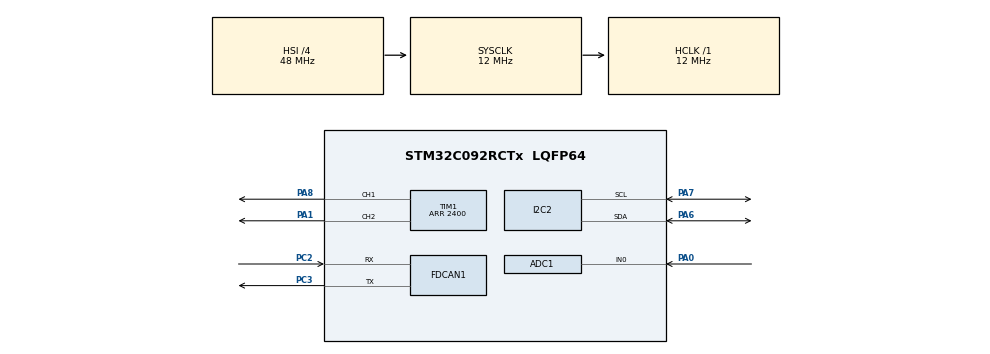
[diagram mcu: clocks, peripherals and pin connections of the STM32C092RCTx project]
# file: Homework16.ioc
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ADC1.NbrOfConversionFlag=0
ADC1.SelectedChannel=ADC_CHANNEL_0
ADC1.master=1
FDCAN1.CalculateBaudRateNominal=250000
FDCAN1.CalculateTimeBitNominal=4000
FDCAN1.CalculateTimeQuantumNominal=1333.3333333333333
I2C2.Timing=0x00402D41
Mcu.Family=STM32C0
Mcu.Name=STM32C092RCTx
Mcu.Package=LQFP64
NUCLEO-C092RC.BUTTON=1
NUCLEO-C092RC.LD1=true
NUCLEO-C092RC.LD2=true
NUCLEO-C092RC.VCP=true
NVIC.EXTI4_15_IRQn=true\:0\:0\:false\:false\:true\:false\:true\:true
NVIC.TIM2_IRQn=true\:0\:0\:false\:false\:true\:true\:true\:true
PA0.Mode=IN0
PA0.Signal=ADC1_IN0
PA1.Signal=S_TIM1_CH2
PA13.GPIO_Label=SWDIO
PA13.Signal=DEBUG_SWDIO
PA14-BOOT0.GPIO_Label=SWCLK
PA14-BOOT0.Signal=DEBUG_SWCLK
PA2.Signal=USART2_TX
PA3.Signal=USART2_RX
PA6.Mode=I2C
PA6.Signal=I2C2_SDA
PA7.Mode=I2C
PA7.Signal=I2C2_SCL
PA8.Signal=S_TIM1_CH1
PC14-OSCX_IN(PC14).GPIO_Label=OSCX_IN
PC14-OSCX_IN(PC14).Signal=RCC_OSCX_IN
PC15-OSCX_OUT(PC15).GPIO_Label=OSCX_OUT
PC15-OSCX_OUT(PC15).Signal=RCC_OSCX_OUT
PC2.Mode=FDCAN_Activate
PC2.Signal=FDCAN1_RX
PC3.Mode=FDCAN_Activate
PC3.Signal=FDCAN1_TX
PF0-OSC_IN(PF0).GPIO_Label=OSC_IN
PF0-OSC_IN(PF0).Signal=RCC_OSC_IN
PF1-OSC_OUT(PF1).GPIO_Label=OSC_OUT
PF1-OSC_OUT(PF1).Signal=RCC_OSC_OUT
ProjectManager.HeapSize=0x200
ProjectManager.StackSize=0x400
ProjectManager.TargetToolchain=STM32CubeIDE
RCC.ADCFreq_Value=12000000
RCC.AHBFreq_Value=12000000
RCC.CortexFreq_Value=12000000
RCC.EXTERNAL_CLOCK_VALUE=12288000
RCC.HCLKFreq_Value=12000000
RCC.HSE_VALUE=8000000
RCC.HSI_VALUE=48000000
RCC.LSE_VALUE=32768
RCC.SYSCLKFreq_VALUE=12000000
SH.S_TIM1_CH1.0=TIM1_CH1,PWM Generation1 CH1
SH.S_TIM1_CH2.0=TIM1_CH2,PWM Generation2 CH2
TIM1.Channel-PWM\ Generation1\ CH1=TIM_CHANNEL_1
TIM1.Channel-PWM\ Generation2\ CH2=TIM_CHANNEL_2
TIM1.Period=2400
TIM2.Period=48000
VP_NUCLEO-C092RC_VS_BSP_COMMON.Mode=COMMON
VP_TIM2_VS_ClockSourceINT.Mode=Internal
board=NUCLEO-C092RC

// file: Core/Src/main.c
/* USER CODE BEGIN Header */
/**
  ******************************************************************************
  * @file           : main.c
  * @brief          : Main program body
  ******************************************************************************
  * @attention
  *
  * Copyright (c) 2026 STMicroelectronics.
  * All rights reserved.
  *
  * This software is licensed under terms that can be found in the LICENSE file
  * in the root directory of this software component.
  * If no LICENSE file comes with this software, it is provided AS-IS.
  *
  ******************************************************************************
  */
/* USER CODE END Header */
#include "main.h"
#include <stdio.h>
#include <stdlib.h>

/* USER CODE BEGIN PD */
#define INA219_ADDR 0x40
#define INA219_REG_CONFIG 0x00
#define INA219_REG_CALIBRATION 0x05
#define INA219_REG_CURRENT 0x04
#define NUM_SAMPLES 400
/* USER CODE END PD */

COM_InitTypeDef BspCOMInit;
ADC_HandleTypeDef hadc1;

FDCAN_HandleTypeDef hfdcan1;

I2C_HandleTypeDef hi2c2;

TIM_HandleTypeDef htim1;
TIM_HandleTypeDef htim2;

/* USER CODE BEGIN PV */

volatile int state = 0;
volatile int index_data[NUM_SAMPLES];
volatile int desired_data[NUM_SAMPLES];
volatile int current_data[NUM_SAMPLES];

/* USER CODE END PV */

void SystemClock_Config(void);
static void MX_GPIO_Init(void);
static void MX_ADC1_Init(void);
static void MX_FDCAN1_Init(void);
static void MX_I2C2_Init(void);
static void MX_TIM1_Init(void);
static void MX_TIM2_Init(void);

/* USER CODE BEGIN 0 */
uint32_t read_adc(void)
{
    uint32_t raw = 0;

    HAL_ADC_Start(&hadc1);

    if (HAL_ADC_PollForConversion(&hadc1, 10) == HAL_OK) {
        raw = HAL_ADC_GetValue(&hadc1);
    }

    HAL_ADC_Stop(&hadc1);

    return raw;
}

void writeINA219(int reg, int value)
{
    uint8_t buf[3];
    buf[0] = reg;
    buf[1] = value >> 8;
    buf[2] = value & 0xff;

    HAL_I2C_Master_Transmit(&hi2c2, INA219_ADDR << 1, buf, 3, 10);
}

signed short readINA219(unsigned char reg)
{
    HAL_I2C_Master_Transmit(&hi2c2, INA219_ADDR << 1, &reg, 1, 10);

    uint8_t buffer[2];
    HAL_I2C_Master_Receive(&hi2c2, INA219_ADDR << 1, buffer, 2, 10);

    signed short value = (buffer[0] << 8) | buffer[1];
    return value;
}

void init_ina219(void)
{
    unsigned short ina219_calValue = 1024;
    unsigned short ina219_config = 0b0011000010001111;

    writeINA219(INA219_REG_CALIBRATION, ina219_calValue);
    writeINA219(INA219_REG_CONFIG, ina219_config);
}

float read_ina219(void)
{
    float ma = 0;
    signed short value = readINA219(INA219_REG_CURRENT);
    ma = value / 3.0;
    return ma;
}

void HAL_TIM_PeriodElapsedCallback(TIM_HandleTypeDef *htim)
{
    if (htim == &htim2)
    {
        static volatile int counter = 0;
        static volatile int desired_current = -300;
        static volatile float eint = 0;
        volatile int ui_data[400];

        if (state == 1)
        {
            signed short current = readINA219(INA219_REG_CURRENT);

            int error = desired_current - current;
            eint += error;

            if (eint > 1000) eint = 1000;
            if (eint < -1000) eint = -1000;

            float kp = -0.011;
            float ki = -0.008;

            float uf = kp * error + ki * eint;
            int ui = (int)(uf / 125.0 * 2400);

            if (ui > 2400) ui = 2400;
            if (ui < -2400) ui = -2400;

            if (ui > 0) {
                __HAL_TIM_SET_COMPARE(&htim1, TIM_CHANNEL_1, 2400 - ui);
                __HAL_TIM_SET_COMPARE(&htim1, TIM_CHANNEL_2, 2400);
            }
            else {
                __HAL_TIM_SET_COMPARE(&htim1, TIM_CHANNEL_1, 2400);
                __HAL_TIM_SET_COMPARE(&htim1, TIM_CHANNEL_2, 2400 + ui);
            }

            index_data[counter] = counter;
            desired_data[counter] = desired_current;
            current_data[counter] = current;
            ui_data[counter] = ui;

            counter++;

            if (counter == 100)
            {
                desired_current = 300;
            }
            else if (counter == 200)
            {
                desired_current = -300;
            }
            else if (counter == 300)
            {
                desired_current = 300;
            }

            if (counter >= 400)
            {
                __HAL_TIM_SET_COMPARE(&htim1, TIM_CHANNEL_1, 2400);
                __HAL_TIM_SET_COMPARE(&htim1, TIM_CHANNEL_2, 2400);

                for(int i=0; i<400; i++)
                    {
                        printf("%d,%d,%d, %d\r\n",
                               index_data[i],
                               desired_data[i],
                               current_data[i],
							   ui_data[i]);
                    }

                counter = 0;
                desired_current = -300;
                eint = 0;
                state = 0;
            }
        }
    }
}

/* USER CODE END 0 */

int main(void)
{

  /* MCU Configuration--------------------------------------------------------*/

  /* Reset of all peripherals, Initializes the Flash interface and the Systick. */
  HAL_Init();

  /* Configure the system clock */
  SystemClock_Config();

  /* Initialize all configured peripherals */
  MX_GPIO_Init();
  MX_ADC1_Init();
  MX_FDCAN1_Init();
  MX_I2C2_Init();
  MX_TIM1_Init();
  MX_TIM2_Init();

  /* USER CODE BEGIN 2 */
  init_ina219();

  __HAL_TIM_SET_COMPARE(&htim1, TIM_CHANNEL_1, 2400);
  __HAL_TIM_SET_COMPARE(&htim1, TIM_CHANNEL_2, 2400);

  HAL_TIM_PWM_Start(&htim1, TIM_CHANNEL_1);
  HAL_TIM_PWM_Start(&htim1, TIM_CHANNEL_2);

  HAL_TIM_Base_Start_IT(&htim2);

  /* USER CODE END 2 */

  /* Initialize leds */
  BSP_LED_Init(LED_GREEN);
  BSP_LED_Init(LED_BLUE);

  /* Initialize USER push-button, will be used to trigger an interrupt each time it's pressed.*/
  BSP_PB_Init(BUTTON_USER, BUTTON_MODE_EXTI);

  /* Initialize COM1 port (115200, 8 bits (7-bit data + 1 stop bit), no parity */
  BspCOMInit.BaudRate   = 115200;
  BspCOMInit.WordLength = COM_WORDLENGTH_8B;
  BspCOMInit.StopBits   = COM_STOPBITS_1;
  BspCOMInit.Parity     = COM_PARITY_NONE;
  BspCOMInit.HwFlowCtl  = COM_HWCONTROL_NONE;
  if (BSP_COM_Init(COM1, &BspCOMInit) != BSP_ERROR_NONE)
  {
    Error_Handler();
  }

  printf("Program started\r\n");

  /* Infinite loop */
  while (1)
  {
	  //uint32_t adc_val = read_adc();
	  //signed short current = readINA219(INA219_REG_CURRENT);
	  //printf("ADC=%lu Current=%d\r\n", adc_val, current);
	  //HAL_Delay(100);

	  //int c = getchar();
	  uint8_t c = 0;
	  HAL_UART_Receive(&hcom_uart[COM1], &c, 1, HAL_MAX_DELAY);
	  printf("Received: %c\r\n", c);

	  if (c == 'a')
	  {
		  state = 1;
		  while (state == 1)
		  {
		  }

		  for (int i = 0; i < NUM_SAMPLES; i++)
		  {
			  printf("%d %d %d\r\n", index_data[i], desired_data[i], current_data[i]);
		  }
	  }

  }
}

void SystemClock_Config(void)
{
  RCC_OscInitTypeDef RCC_OscInitStruct = {0};
  RCC_ClkInitTypeDef RCC_ClkInitStruct = {0};

  __HAL_FLASH_SET_LATENCY(FLASH_LATENCY_0);

  /** Initializes the RCC Oscillators according to the specified parameters
  * in the RCC_OscInitTypeDef structure.
  */
  RCC_OscInitStruct.OscillatorType = RCC_OSCILLATORTYPE_HSI;
  RCC_OscInitStruct.HSIState = RCC_HSI_ON;
  RCC_OscInitStruct.HSIDiv = RCC_HSI_DIV4;
  RCC_OscInitStruct.HSICalibrationValue = RCC_HSICALIBRATION_DEFAULT;
  if (HAL_RCC_OscConfig(&RCC_OscInitStruct) != HAL_OK)
  {
    Error_Handler();
  }

  /** Initializes the CPU, AHB and APB buses clocks
  */
  RCC_ClkInitStruct.ClockType = RCC_CLOCKTYPE_HCLK|RCC_CLOCKTYPE_SYSCLK
                              |RCC_CLOCKTYPE_PCLK1;
  RCC_ClkInitStruct.SYSCLKSource = RCC_SYSCLKSOURCE_HSI;
  RCC_ClkInitStruct.SYSCLKDivider = RCC_SYSCLK_DIV1;
  RCC_ClkInitStruct.AHBCLKDivider = RCC_HCLK_DIV1;
  RCC_ClkInitStruct.APB1CLKDivider = RCC_APB1_DIV1;

  if (HAL_RCC_ClockConfig(&RCC_ClkInitStruct, FLASH_LATENCY_0) != HAL_OK)
  {
    Error_Handler();
  }
}

static void MX_ADC1_Init(void)
{

  ADC_ChannelConfTypeDef sConfig = {0};

  /** Configure the global features of the ADC (Clock, Resolution, Data Alignment and number of conversion)
  */
  hadc1.Instance = ADC1;
  hadc1.Init.ClockPrescaler = ADC_CLOCK_SYNC_PCLK_DIV1;
  hadc1.Init.Resolution = ADC_RESOLUTION_12B;
  hadc1.Init.DataAlign = ADC_DATAALIGN_RIGHT;
  hadc1.Init.ScanConvMode = ADC_SCAN_SEQ_FIXED;
  hadc1.Init.EOCSelection = ADC_EOC_SINGLE_CONV;
  hadc1.Init.LowPowerAutoWait = DISABLE;
  hadc1.Init.LowPowerAutoPowerOff = DISABLE;
  hadc1.Init.ContinuousConvMode = DISABLE;
  hadc1.Init.NbrOfConversion = 1;
  hadc1.Init.DiscontinuousConvMode = DISABLE;
  hadc1.Init.ExternalTrigConv = ADC_SOFTWARE_START;
  hadc1.Init.ExternalTrigConvEdge = ADC_EXTERNALTRIGCONVEDGE_NONE;
  hadc1.Init.DMAContinuousRequests = DISABLE;
  hadc1.Init.Overrun = ADC_OVR_DATA_PRESERVED;
  hadc1.Init.SamplingTimeCommon1 = ADC_SAMPLETIME_1CYCLE_5;
  hadc1.Init.OversamplingMode = DISABLE;
  hadc1.Init.TriggerFrequencyMode = ADC_TRIGGER_FREQ_HIGH;
  if (HAL_ADC_Init(&hadc1) != HAL_OK)
  {
    Error_Handler();
  }

  /** Configure Regular Channel
  */
  sConfig.Channel = ADC_CHANNEL_0;
  sConfig.Rank = ADC_RANK_CHANNEL_NUMBER;
  if (HAL_ADC_ConfigChannel(&hadc1, &sConfig) != HAL_OK)
  {
    Error_Handler();
  }

}

static void MX_FDCAN1_Init(void)
{

  hfdcan1.Instance = FDCAN1;
  hfdcan1.Init.ClockDivider = FDCAN_CLOCK_DIV1;
  hfdcan1.Init.FrameFormat = FDCAN_FRAME_CLASSIC;
  hfdcan1.Init.Mode = FDCAN_MODE_NORMAL;
  hfdcan1.Init.AutoRetransmission = DISABLE;
  hfdcan1.Init.TransmitPause = DISABLE;
  hfdcan1.Init.ProtocolException = DISABLE;
  hfdcan1.Init.NominalPrescaler = 16;
  hfdcan1.Init.NominalSyncJumpWidth = 1;
  hfdcan1.Init.NominalTimeSeg1 = 1;
  hfdcan1.Init.NominalTimeSeg2 = 1;
  hfdcan1.Init.DataPrescaler = 1;
  hfdcan1.Init.DataSyncJumpWidth = 1;
  hfdcan1.Init.DataTimeSeg1 = 1;
  hfdcan1.Init.DataTimeSeg2 = 1;
  hfdcan1.Init.StdFiltersNbr = 0;
  hfdcan1.Init.ExtFiltersNbr = 0;
  hfdcan1.Init.TxFifoQueueMode = FDCAN_TX_FIFO_OPERATION;
  if (HAL_FDCAN_Init(&hfdcan1) != HAL_OK)
  {
    Error_Handler();
  }

}

static void MX_I2C2_Init(void)
{

  hi2c2.Instance = I2C2;
  hi2c2.Init.Timing = 0x00402D41;
  hi2c2.Init.OwnAddress1 = 0;
  hi2c2.Init.AddressingMode = I2C_ADDRESSINGMODE_7BIT;
  hi2c2.Init.DualAddressMode = I2C_DUALADDRESS_DISABLE;
  hi2c2.Init.OwnAddress2 = 0;
  hi2c2.Init.OwnAddress2Masks = I2C_OA2_NOMASK;
  hi2c2.Init.GeneralCallMode = I2C_GENERALCALL_DISABLE;
  hi2c2.Init.NoStretchMode = I2C_NOSTRETCH_DISABLE;
  if (HAL_I2C_Init(&hi2c2) != HAL_OK)
  {
    Error_Handler();
  }

  /** Configure Analogue filter
  */
  if (HAL_I2CEx_ConfigAnalogFilter(&hi2c2, I2C_ANALOGFILTER_ENABLE) != HAL_OK)
  {
    Error_Handler();
  }

  /** Configure Digital filter
  */
  if (HAL_I2CEx_ConfigDigitalFilter(&hi2c2, 0) != HAL_OK)
  {
    Error_Handler();
  }

}

static void MX_TIM1_Init(void)
{

  TIM_MasterConfigTypeDef sMasterConfig = {0};
  TIM_OC_InitTypeDef sConfigOC = {0};
  TIM_BreakDeadTimeConfigTypeDef sBreakDeadTimeConfig = {0};

  htim1.Instance = TIM1;
  htim1.Init.Prescaler = 0;
  htim1.Init.CounterMode = TIM_COUNTERMODE_UP;
  htim1.Init.Period = 2400;
  htim1.Init.ClockDivision = TIM_CLOCKDIVISION_DIV1;
  htim1.Init.RepetitionCounter = 0;
  htim1.Init.AutoReloadPreload = TIM_AUTORELOAD_PRELOAD_DISABLE;
  if (HAL_TIM_PWM_Init(&htim1) != HAL_OK)
  {
    Error_Handler();
  }
  sMasterConfig.MasterOutputTrigger = TIM_TRGO_RESET;
  sMasterConfig.MasterOutputTrigger2 = TIM_TRGO2_RESET;
  sMasterConfig.MasterSlaveMode = TIM_MASTERSLAVEMODE_DISABLE;
  if (HAL_TIMEx_MasterConfigSynchronization(&htim1, &sMasterConfig) != HAL_OK)
  {
    Error_Handler();
  }
  sConfigOC.OCMode = TIM_OCMODE_PWM1;
  sConfigOC.Pulse = 0;
  sConfigOC.OCPolarity = TIM_OCPOLARITY_HIGH;
  sConfigOC.OCNPolarity = TIM_OCNPOLARITY_HIGH;
  sConfigOC.OCFastMode = TIM_OCFAST_DISABLE;
  sConfigOC.OCIdleState = TIM_OCIDLESTATE_RESET;
  sConfigOC.OCNIdleState = TIM_OCNIDLESTATE_RESET;
  if (HAL_TIM_PWM_ConfigChannel(&htim1, &sConfigOC, TIM_CHANNEL_1) != HAL_OK)
  {
    Error_Handler();
  }
  if (HAL_TIM_PWM_ConfigChannel(&htim1, &sConfigOC, TIM_CHANNEL_2) != HAL_OK)
  {
    Error_Handler();
  }
  sBreakDeadTimeConfig.OffStateRunMode = TIM_OSSR_DISABLE;
  sBreakDeadTimeConfig.OffStateIDLEMode = TIM_OSSI_DISABLE;
  sBreakDeadTimeConfig.LockLevel = TIM_LOCKLEVEL_OFF;
  sBreakDeadTimeConfig.DeadTime = 0;
  sBreakDeadTimeConfig.BreakState = TIM_BREAK_DISABLE;
  sBreakDeadTimeConfig.BreakPolarity = TIM_BREAKPOLARITY_HIGH;
  sBreakDeadTimeConfig.BreakFilter = 0;
  sBreakDeadTimeConfig.BreakAFMode = TIM_BREAK_AFMODE_INPUT;
  sBreakDeadTimeConfig.Break2State = TIM_BREAK2_DISABLE;
  sBreakDeadTimeConfig.Break2Polarity = TIM_BREAK2POLARITY_HIGH;
  sBreakDeadTimeConfig.Break2Filter = 0;
  sBreakDeadTimeConfig.Break2AFMode = TIM_BREAK_AFMODE_INPUT;
  sBreakDeadTimeConfig.AutomaticOutput = TIM_AUTOMATICOUTPUT_DISABLE;
  if (HAL_TIMEx_ConfigBreakDeadTime(&htim1, &sBreakDeadTimeConfig) != HAL_OK)
  {
    Error_Handler();
  }
  HAL_TIM_MspPostInit(&htim1);

}

static void MX_TIM2_Init(void)
{

  TIM_ClockConfigTypeDef sClockSourceConfig = {0};
  TIM_MasterConfigTypeDef sMasterConfig = {0};

  htim2.Instance = TIM2;
  htim2.Init.Prescaler = 0;
  htim2.Init.CounterMode = TIM_COUNTERMODE_UP;
  htim2.Init.Period = 48000;
  htim2.Init.ClockDivision = TIM_CLOCKDIVISION_DIV1;
  htim2.Init.AutoReloadPreload = TIM_AUTORELOAD_PRELOAD_DISABLE;
  if (HAL_TIM_Base_Init(&htim2) != HAL_OK)
  {
    Error_Handler();
  }
  sClockSourceConfig.ClockSource = TIM_CLOCKSOURCE_INTERNAL;
  if (HAL_TIM_ConfigClockSource(&htim2, &sClockSourceConfig) != HAL_OK)
  {
    Error_Handler();
  }
  sMasterConfig.MasterOutputTrigger = TIM_TRGO_RESET;
  sMasterConfig.MasterSlaveMode = TIM_MASTERSLAVEMODE_DISABLE;
  if (HAL_TIMEx_MasterConfigSynchronization(&htim2, &sMasterConfig) != HAL_OK)
  {
    Error_Handler();
  }

}

static void MX_GPIO_Init(void)
{

  /* GPIO Ports Clock Enable */
  __HAL_RCC_GPIOC_CLK_ENABLE();
  __HAL_RCC_GPIOF_CLK_ENABLE();
  __HAL_RCC_GPIOA_CLK_ENABLE();

}

void Error_Handler(void)
{
  __disable_irq();
  while (1)
  {
  }
}
